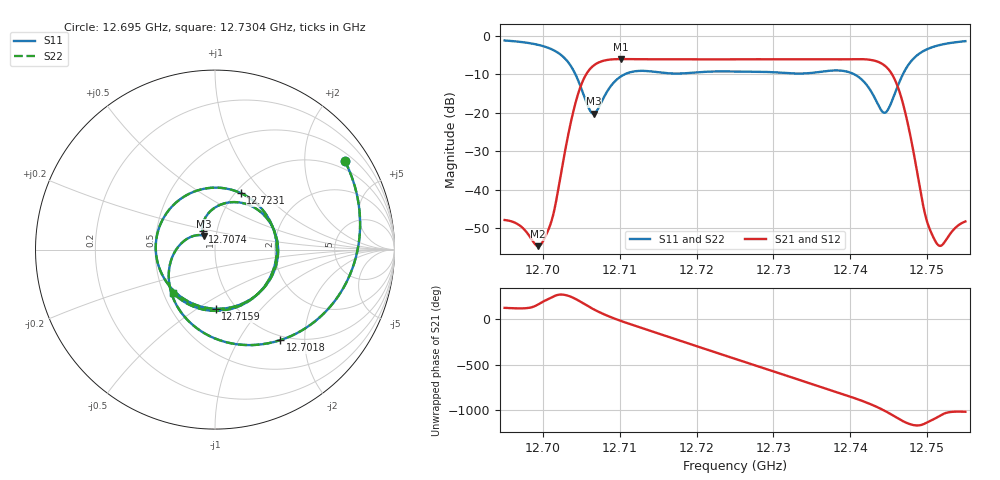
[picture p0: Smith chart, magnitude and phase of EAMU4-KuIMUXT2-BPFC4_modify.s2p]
! Created with skrf (http://scikit-rf.org).
! Parameters = {f0=12725.5; bw=41.3; Q=6100; N=12; m_0_1=1.2518988847732544; m_1_1=-0.001992508303374052; m_1_2=1.0546101331710815; m_2_2=-0.0009656145703047514; m_2_3=0.6689338684082031; m_2_10=-4.322784297983162e-05; m_2_11=0.011188280768692493; m_3_3=-0.0033175204880535603; m_3_4=0.59443682432174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
# MHz S RI R 50.0
!freq ReS11 ImS11 ReS21 ImS21 ReS12 ImS12 ReS22 ImS22
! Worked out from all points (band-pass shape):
!   1001 points, 12.695 GHz to 12.755 GHz, reference 50 ohm
!   highest |S21| = -6.00 dB at 12.7102 GHz (marker M1); lowest = -54.8 dB at 12.6994 GHz (marker M2)
!   |S21| within 3 dB of the highest: 12.70595 GHz to 12.74512 GHz (39.17 MHz wide, 0.308 % of centre)
!   lowest |S11| = -20.2 dB at 12.7066 GHz (marker M3), VSWR 1.22, Z = 43.8 + j6.78 ohm
!   |S11| at or under -10 dB: 12.70423 GHz to 12.7106 GHz (6.373 MHz wide, 0.0502 % of centre); 12.74056 GHz to 12.74686 GHz (6.299 MHz wide, 0.0494 % of centre)
!   |S22| runs from -20.2 to -1.1 dB; largest |S21 - S12| = 0
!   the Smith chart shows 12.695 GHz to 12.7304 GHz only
!   S11 on the Smith chart (normalised r, x): 12.695 GHz: 0.72, +3.07; 12.7018 GHz: 0.93, -1.53; 12.7074 GHz: 0.85, +0.18; 12.7159 GHz: 0.81, -0.60; 12.7231 GHz: 1.06, +0.76; 12.7304 GHz: 0.56, -0.30
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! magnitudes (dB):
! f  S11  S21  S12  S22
! 12.695 GHz  -1.1  -48.0  -48.0  -1.1
! 12.6994 GHz  -2.3  -54.8  -54.8  -2.3
! 12.7008 GHz  -3.1  -50.2  -50.2  -3.1
! 12.7018 GHz  -4.1  -42.2  -42.2  -4.1
! 12.7036 GHz  -7.7  -22.9  -22.9  -7.7
! 12.705 GHz  -13.8  -12.5  -12.5  -13.8
! 12.7066 GHz  -20.2  -7.7  -7.7  -20.2
! 12.7074 GHz  -18.2  -6.8  -6.8  -18.2
! 12.7102 GHz  -10.5  -6.0  -6.0  -10.5
! 12.715 GHz  -9.4  -6.0  -6.0  -9.4
! 12.7159 GHz  -9.6  -6.0  -6.0  -9.6
! 12.7231 GHz  -9.2  -6.1  -6.1  -9.2
! 12.725 GHz  -9.2  -6.0  -6.0  -9.2
! 12.7304 GHz  -9.5  -6.1  -6.1  -9.5
! 12.735 GHz  -9.6  -6.0  -6.0  -9.6
! 12.7404 GHz  -9.8  -6.0  -6.0  -9.8
! 12.745 GHz  -18.7  -8.8  -8.8  -18.7
! 12.7469 GHz  -9.8  -17.8  -17.8  -9.8
! 12.7497 GHz  -3.8  -45.7  -45.7  -3.8
! 12.7509 GHz  -2.8  -52.6  -52.6  -2.8
! 12.7519 GHz  -2.2  -54.6  -54.6  -2.2
! 12.755 GHz  -1.3  -48.3  -48.3  -1.3
